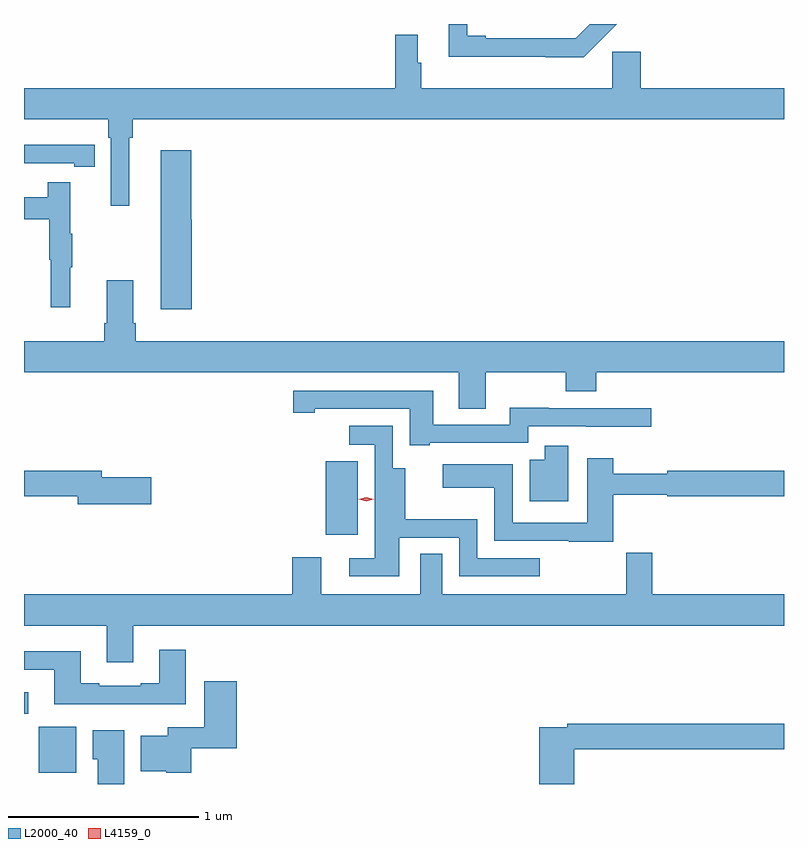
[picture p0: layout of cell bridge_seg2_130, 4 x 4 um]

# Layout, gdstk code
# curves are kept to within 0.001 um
import gdstk
lib = gdstk.Library(unit=1e-6, precision=1e-09)
def R(c, l, rs):  # rectangles x0, y0, x1, y1
    for r in rs: c.add(gdstk.rectangle(r[:2], r[2:], *l))
def P(c, l, *ps):  # polygons
    for p in ps: c.add(gdstk.Polygon(p, *l))
L2000_40 = (2000, 40)
L4159_0 = (4159, 0)

bridge_seg2_130 = lib.new_cell('bridge_seg2_130')
R(bridge_seg2_130, L2000_40, [(471.056,598.91,471.253,599.152), (470.978,599.219,471.001,599.332), (472.565,600.162,472.735,600.55)])
P(bridge_seg2_130, L2000_40, [(474.099,602.85),(473.955,602.85),(473.881,602.776),(473.777,602.775),(473.407,602.775),(473.407,602.788),(473.311,602.788),(473.311,602.85),(473.213,602.85),(473.213,602.678),(473.725,602.678),(473.725,602.676),(473.924,602.676)],
  [(471.532,602.252),(471.551,602.252),(471.551,602.348),(474.978,602.348),(474.978,602.512),(474.224,602.512),(474.224,602.703),(474.073,602.703),(474.073,602.512),(473.069,602.512),(473.069,602.645),(473.05,602.645),(473.05,602.794),(472.933,602.794),(472.933,602.512),(470.978,602.512),(470.978,602.348),(471.422,602.348),(471.422,602.252),(471.435,602.252),(471.435,601.893),(471.532,601.893)],
  [(471.35,602.214),(471.242,602.214),(471.242,602.215),(470.978,602.215),(470.978,602.118),(471.242,602.118),(471.242,602.098),(471.35,602.098)],
  [(471.862,601.821),(471.857,601.821),(471.857,602.185),(471.698,602.185),(471.698,601.35),(471.862,601.35)],
  [(471.221,601.571),(471.232,601.571),(471.232,601.745),(471.221,601.745),(471.221,602.017),(471.103,602.017),(471.103,601.938),(470.978,601.938),(470.978,601.822),(471.111,601.822),(471.111,601.608),(471.118,601.608),(471.118,601.359),(471.221,601.359)],
  [(473.407,601.016),(473.83,601.016),(473.83,600.917),(473.99,600.917),(473.99,601.016),(474.978,601.016),(474.978,601.18),(471.566,601.18),(471.566,601.276),(471.553,601.276),(471.553,601.501),(471.413,601.501),(471.413,601.276),(471.401,601.276),(471.401,601.18),(470.978,601.18),(470.978,601.016),(473.267,601.016),(473.267,600.826),(473.407,600.826)],
  [(473.113,600.645),(473.631,600.645),(473.631,600.732),(473.938,600.732),(473.938,600.731),(474.28,600.731),(474.28,600.828),(473.741,600.828),(473.741,600.83),(473.535,600.83),(473.535,600.741),(473.131,600.741),(473.131,600.921),(472.395,600.921),(472.395,600.805),(472.507,600.805),(472.507,600.825),(473.009,600.825),(473.009,600.633),(473.113,600.633)],
  [(472.954,600.147),(473.268,600.147),(473.268,599.943),(473.692,599.943),(473.692,600.039),(473.364,600.039),(473.364,600.244),(472.984,600.244),(472.984,600.511),(472.92,600.511),(472.92,600.736),(472.689,600.736),(472.689,600.635),(472.823,600.635),(472.823,600.039),(472.689,600.039),(472.689,599.943),(472.954,599.943)],
  [(473.842,600.631),(473.72,600.631),(473.72,600.556),(473.639,600.556),(473.639,600.338),(473.842,600.338)],
  [(474.08,600.372),(474.363,600.372),(474.363,600.364),(474.978,600.364),(474.978,600.5),(474.363,600.5),(474.363,600.483),(474.08,600.483),(474.08,600.565),(473.942,600.565),(473.942,600.225),(473.55,600.225),(473.55,600.532),(473.181,600.532),(473.181,600.41),(473.454,600.41),(473.454,600.129),(473.846,600.129),(473.846,600.124),(474.08,600.124)],
  [(471.649,600.464),(471.388,600.464),(471.388,600.5),(470.978,600.5),(470.978,600.364),(471.26,600.364),(471.26,600.322),(471.649,600.322)],
  [(471.553,599.684),(474.978,599.684),(474.978,599.848),(474.284,599.848),(474.284,600.067),(474.148,600.067),(474.148,599.848),(473.179,599.848),(473.179,600.062),(473.063,600.062),(473.063,599.848),(472.543,599.848),(472.543,600.043),(472.391,600.043),(472.391,599.848),(470.978,599.848),(470.978,599.684),(471.413,599.684),(471.413,599.49),(471.553,599.49)],
  [(471.829,599.557),(471.689,599.557),(471.689,599.38),(471.593,599.38),(471.593,599.367),(471.373,599.367),(471.373,599.38),(471.277,599.38),(471.277,599.548),(470.978,599.548),(470.978,599.451),(471.137,599.451),(471.137,599.27),(471.829,599.27)],
  [(471.857,599.039),(472.097,599.039),(472.097,599.392),(471.926,599.392),(471.926,599.149),(471.734,599.149),(471.734,599.104),(471.593,599.104),(471.593,598.916),(471.726,598.916),(471.726,598.91),(471.857,598.91)],
  [(473.873,599.032),(474.978,599.032),(474.978,599.168),(473.836,599.168),(473.836,599.148),(473.69,599.148),(473.69,598.85),(473.873,598.85)],
  [(471.505,599.134),(471.341,599.134),(471.341,598.98),(471.365,598.98),(471.365,598.85),(471.505,598.85)])
P(bridge_seg2_130, L4159_0, [(472.78,600.339),(472.74,600.349),(472.74,600.349),(472.74,600.35),(472.78,600.359),(472.819,600.348),(472.819,600.348),(472.819,600.348)])

lib.write_gds('bridge_seg2_130.gds')
